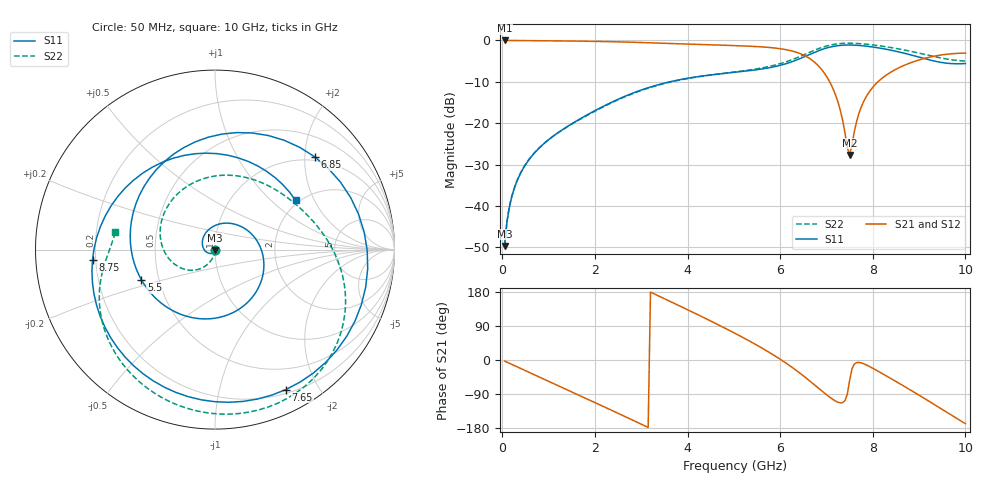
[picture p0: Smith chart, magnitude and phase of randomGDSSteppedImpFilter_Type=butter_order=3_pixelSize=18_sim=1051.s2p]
! freq	dB(S11)	phase(S11)	dB(S12)	phase(S12)
!  dB(S21)	phase(S21)	dB(S22)	phase(S22)
!S-par simulation data
#  GHz  S  DB  R 50
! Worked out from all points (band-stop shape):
!   200 points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, 50 MHz to 10 GHz, reference 50 ohm
!   highest |S21| = -0.01 dB at 50 MHz (marker M1); lowest = -27.7 dB at 7.5 GHz (marker M2)
!   |S21| within 3 dB of the highest: start of sweep to 6.389 GHz
!   lowest |S11| = -49.6 dB at 50 MHz (marker M3), VSWR 1.01, Z = 50 - j0.329 ohm
!   |S11| at or under -10 dB: start of sweep to 3.616 GHz
!   |S22| runs from -49.7 to -0.7 dB; largest |S21 - S12| = 0
!   S11 on the Smith chart (normalised r, x): 50 MHz: 1.00, -0.01; 5.5 GHz: 0.40, -0.17; 6.85 GHz: 0.91, +2.22; 7.65 GHz: 0.24, -1.60; 8.75 GHz: 0.19, -0.04; 10 GHz: 1.90, +1.45
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0.05  -49.64 -86.5  -0.01 -2.8  -0.01 -2.8  -49.71 -81.9
0.1  -43.92 -94.9  -0.01 -5.7  -0.01 -5.7  -43.81 -87.5
0.2  -37.98 -106.6  -0.02 -11.2  -0.02 -11.2  -37.84 -92.0
0.45  -30.97 -131.5  -0.04 -25.2  -0.04 -25.2  -30.85 -98.6
1.15  -22.71 161.6  -0.10 -64.2  -0.10 -64.2  -22.74 -112.3
1.75  -18.50 105.1  -0.18 -98.0  -0.18 -98.0  -18.61 -123.3
2.65  -13.49 29.5  -0.38 -149.2  -0.38 -149.2  -13.61 -149.4
3.4  -10.60 -23.4  -0.65 167.6  -0.65 167.6  -10.70 177.8
4.3  -8.62 -78.9  -0.99 114.9  -0.99 114.9  -8.67 128.6
5.05  -7.66 -125.1  -1.26 68.8  -1.26 68.8  -7.58 82.7
5.5  -7.07 -157.7  -1.49 39.0  -1.49 39.0  -6.85 55.3
6.15  -5.54 138.7  -2.28 -10.1  -2.28 -10.1  -5.07 18.6
6.7  -3.08 64.9  -4.88 -61.3  -4.88 -61.3  -2.55 -14.9
6.85  -2.40 42.9  -6.43 -76.6  -6.43 -76.6  -1.89 -25.7
7.15  -1.43 -0.3  -11.88 -104.9  -11.88 -104.9  -0.97 -48.8
7.5  -1.11 -45.7  -27.67 -54.5  -27.67 -54.5  -0.67 -74.9
7.65  -1.17 -63.1  -19.63 -6.9  -19.63 -6.9  -0.72 -85.2
7.95  -1.51 -95.1  -12.03 -18.5  -12.03 -18.5  -1.02 -104.0
8.35  -2.26 -134.8  -7.94 -46.0  -7.94 -46.0  -1.64 -126.2
8.75  -3.29 -175.4  -5.69 -74.5  -5.69 -74.5  -2.46 -145.7
9.4  -5.16 108.3  -3.65 -122.9  -3.65 -122.9  -4.07 -171.5
10  -5.58 31.5  -3.06 -168.1  -3.06 -168.1  -4.99 170.1
